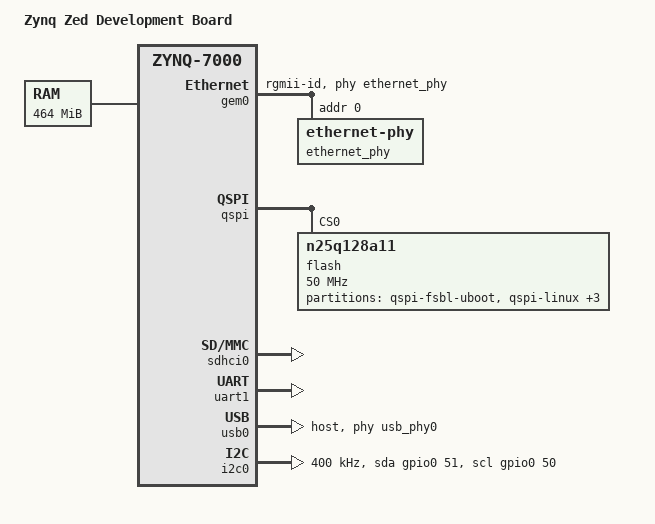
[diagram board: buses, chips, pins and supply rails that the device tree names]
// SPDX-License-Identifier: GPL-2.0+
/*
 *  Copyright (C) 2011 - 2015 Xilinx
 *  Copyright (C) 2012 National Instruments Corp.
 */
/dts-v1/;
#include "zynq-7000.dtsi"

/ {
	model = "Zynq Zed Development Board";
	compatible = "xlnx,zynq-zed", "xlnx,zynq-7000";

	aliases {
		ethernet0 = &gem0;
		serial0 = &uart1;
		spi0 = &qspi;
		mmc0 = &sdhci0;
		i2c0 = &i2c0;
	};

	memory@0 {
		device_type = "memory";
		reg = <0x0 0x1D000000>;
	};

	chosen {
		bootargs = "console=ttyPS0,115200 root=/dev/mmcblk0p2 rw earlyprintk rootfstype=ext4 rootwait devtmpfs.mount=1 earlyprintk";
		stdout-path = "serial0:115200n8";
		#bootargs = "console=ttyPS0,115200 root=/dev/nfs rw rootfstype=nfs nfsroot=192.168.42.1:/home/christian/reconos/nfs,tcp,nfsvers=3 ip=192.168.42.2:::255.255.255.0:reconos:eth0:off earlyprintk";
		#stdout-path = "serial0:115200n8";
	};


	usb_phy0: phy0@e0002000 {
		compatible = "ulpi-phy";
		#phy-cells = <0>;
		reg = <0xe0002000 0x1000>;
		view-port = <0x0170>;
		drv-vbus;
	};

	amba: amba {
		reconos_osif: reconos_osif@75a00000 {
				compatible = "upb,reconos-osif-3.1";
				reg = <0x75a00000 0x10000>;
		};

		reconos_osif_intc: reconos_osif_intc@7b400000 {
				compatible = "upb,reconos-osif-intc-3.1";
				reg = <0x7b400000 0x10000>;
				interrup-parent = <&intc>;
				interrupts = <0 58 4>;
		};

		reconos_proc_control: reconos_proc_control@6fe00000 {
				compatible = "upb,reconos-control-3.1";
				reg = <0x6fe00000 0x10000>;
				interrupt-parent = <&intc>;
				interrupts = <0 59 4>;
		};
};
};

&clkc {
	ps-clk-frequency = <33333333>;
};

&gem0 {
	status = "okay";
	phy-mode = "rgmii-id";
	phy-handle = <&ethernet_phy>;

	ethernet_phy: ethernet-phy@0 {
		reg = <0>;
		device_type = "ethernet-phy";
	};
};

&qspi {
	u-boot,dm-pre-reloc;
	status = "okay";
	is-dual = <0>;
	num-cs = <1>;
	flash@0 {
		compatible = "n25q128a11";
		reg = <0x0>;
		spi-tx-bus-width = <1>;
		spi-rx-bus-width = <4>;
		spi-max-frequency = <50000000>;
		#address-cells = <1>;
		#size-cells = <1>;
		partition@qspi-fsbl-uboot {
			label = "qspi-fsbl-uboot";
			reg = <0x0 0x100000>;
		};
		partition@qspi-linux {
			label = "qspi-linux";
			reg = <0x100000 0x500000>;
		};
		partition@qspi-device-tree {
			label = "qspi-device-tree";
			reg = <0x600000 0x20000>;
		};
		partition@qspi-rootfs {
			label = "qspi-rootfs";
			reg = <0x620000 0x5E0000>;
		};
		partition@qspi-bitstream {
			label = "qspi-bitstream";
			reg = <0xC00000 0x400000>;
		};
	};
};

&sdhci0 {
	u-boot,dm-pre-reloc;
	status = "okay";
};

&uart1 {
	u-boot,dm-pre-reloc;
	status = "okay";
};

&usb0 {
	status = "okay";
	dr_mode = "host";
	usb-phy = <&usb_phy0>;
};

&i2c0 {
	status = "okay";
	clock-frequency = <400000>;
	scl-gpios = <&gpio0 50 0>;
	sda-gpios = <&gpio0 51 0>;
};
